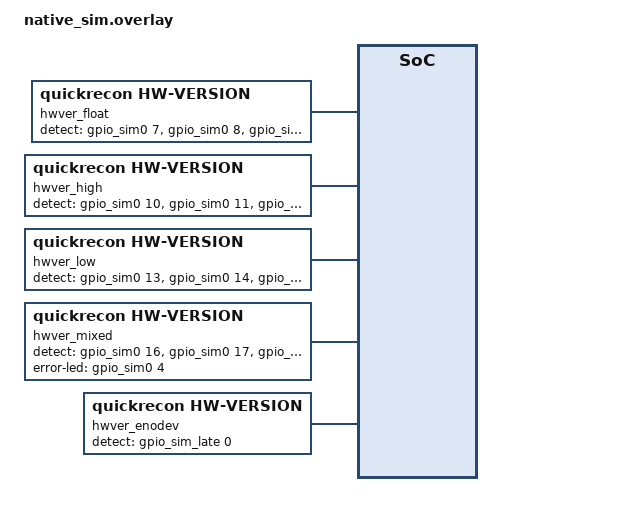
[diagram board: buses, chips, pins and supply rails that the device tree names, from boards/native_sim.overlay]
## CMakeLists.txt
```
cmake_minimum_required(VERSION 3.20.0)

# DTS_ROOT lets Zephyr resolve the out-of-tree bindings this test relies on:
# quickrecon,hw-version (the driver under test) and quickrecon,gpio-sim (the
# capacitance-aware GPIO emulator that preserves externally-driven pin values
# through the pull-up/pull-down reconfigures read_pin_tristate() performs).
set(DTS_ROOT ${CMAKE_CURRENT_SOURCE_DIR}/../..)

find_package(Zephyr REQUIRED HINTS $ENV{ZEPHYR_BASE})
project(test_hw_version)

# The gpio-sim driver source is compiled directly (its own CMakeLists gates on
# CONFIG_GPIO_SIM, whose Kconfig the top-level app sources but a standalone test
# does not). gpio_sim.c is guard-free — it only needs its DT node and CONFIG_GPIO.
target_sources(app PRIVATE
    src/main.c
    ${CMAKE_CURRENT_SOURCE_DIR}/../../src/hw_version.c
    ${CMAKE_CURRENT_SOURCE_DIR}/../../drivers/gpio_sim/gpio_sim.c
)
target_include_directories(app PRIVATE
    ${CMAKE_CURRENT_SOURCE_DIR}/../../include
    ${CMAKE_CURRENT_SOURCE_DIR}/../../src
    ${CMAKE_CURRENT_SOURCE_DIR}/../../drivers/gpio_sim
)
```

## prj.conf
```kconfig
# hw_version.c reads tri-state detect GPIOs and compares against the DT
# expected-pattern. The gpio-sim controller (auto-enabled by its DT node)
# preserves externally-driven values across pull reconfigures so the
# floating / high / low decode arms can all be exercised.
CONFIG_ZTEST=y
CONFIG_GPIO=y
CONFIG_LOG=y
```

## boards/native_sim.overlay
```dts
/*
 * Test topology for hw_version.c coverage.
 *
 * A quickrecon,gpio-sim controller (gpio_sim0) hosts the version-detect pins.
 * Unlike the stock gpio_emul, gpio-sim keeps an externally-driven value pinned
 * through the GPIO_PULL_UP / GPIO_PULL_DOWN reconfigures that
 * read_pin_tristate() applies, so the three decode outcomes can be produced
 * deterministically from the test:
 *
 *   - gpio_sim_drive(pin, 1)  -> both pulled reads HIGH  -> PIN_HIGH
 *   - gpio_sim_drive(pin, 0)  -> both pulled reads LOW   -> PIN_LOW
 *   - gpio_sim_release(pin)   -> pull-up HIGH, pull-down LOW -> PIN_FLOATING
 *
 * gpio_sim0 pin map:
 *   7,8,9    hwver_float detect pins (expected [Z,Z,Z])
 *   10,11,12 hwver_high  detect pins (expected [1,1,1])
 *   13,14,15 hwver_low   detect pins (expected [0,0,0])
 *   16,17,18 hwver_mixed detect pins (expected [0,1,Z])
 *   4        hwver_mixed error LED (exercises the error-led COND_CODE_1 arm)
 *
 * Every hw-version instance is deferred so the test controls pin state before
 * driving device_init(); nothing runs at boot, so no mismatch can trip the
 * unrecoverable halt-with-blink loop during startup.
 *
 * hwver_enodev points at gpio_sim_late, a second gpio-sim that is never
 * initialised, so gpio_is_ready_dt() is false and read_one_detect_pin() takes
 * its -ENODEV arm.
 */

/ {
    gpio_sim0: gpio_sim {
        compatible = "quickrecon,gpio-sim";
        status = "okay";
        gpio-controller;
        #gpio-cells = <2>;
        ngpios = <32>;
        rising-edge;
        falling-edge;
        high-level;
        low-level;
    };

    /* Deferred: never initialised, so device_is_ready() stays false. */
    gpio_sim_late: gpio_sim_late {
        compatible = "quickrecon,gpio-sim";
        status = "okay";
        gpio-controller;
        #gpio-cells = <2>;
        ngpios = <8>;
        rising-edge;
        falling-edge;
        high-level;
        low-level;
        zephyr,deferred-init;
    };

    hwver_float: hwver-float {
        compatible = "quickrecon,hw-version";
        detect-gpios = <&gpio_sim0 7 GPIO_ACTIVE_HIGH>,
                       <&gpio_sim0 8 GPIO_ACTIVE_HIGH>,
                       <&gpio_sim0 9 GPIO_ACTIVE_HIGH>;
        expected-pattern = <2 2 2>;
        zephyr,deferred-init;
    };

    hwver_high: hwver-high {
        compatible = "quickrecon,hw-version";
        detect-gpios = <&gpio_sim0 10 GPIO_ACTIVE_HIGH>,
                       <&gpio_sim0 11 GPIO_ACTIVE_HIGH>,
                       <&gpio_sim0 12 GPIO_ACTIVE_HIGH>;
        expected-pattern = <1 1 1>;
        zephyr,deferred-init;
    };

    hwver_low: hwver-low {
        compatible = "quickrecon,hw-version";
        detect-gpios = <&gpio_sim0 13 GPIO_ACTIVE_HIGH>,
                       <&gpio_sim0 14 GPIO_ACTIVE_HIGH>,
                       <&gpio_sim0 15 GPIO_ACTIVE_HIGH>;
        expected-pattern = <0 0 0>;
        zephyr,deferred-init;
    };

    hwver_mixed: hwver-mixed {
        compatible = "quickrecon,hw-version";
        detect-gpios = <&gpio_sim0 16 GPIO_ACTIVE_HIGH>,
                       <&gpio_sim0 17 GPIO_ACTIVE_HIGH>,
                       <&gpio_sim0 18 GPIO_ACTIVE_HIGH>;
        expected-pattern = <0 1 2>;
        error-led-gpios = <&gpio_sim0 4 GPIO_ACTIVE_HIGH>;
        zephyr,deferred-init;
    };

    hwver_enodev: hwver-enodev {
        compatible = "quickrecon,hw-version";
        detect-gpios = <&gpio_sim_late 0 GPIO_ACTIVE_HIGH>;
        expected-pattern = <2>;
        zephyr,deferred-init;
    };
};
```

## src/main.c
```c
/**
 * @file main.c
 * @brief Unit tests for the hardware-version detection driver (hw_version.c).
 *
 * hw_version.c is a DEVICE_DT_INST_DEFINE driver: its logic lives in the
 * static init callback and helpers, reachable only by initialising an instance.
 * Every instance in the test overlay is deferred, so each ztest scripts the
 * detect pins on the gpio-sim controller, then drives device_init() and
 * inspects the returned status.
 *
 * gpio-sim (quickrecon,gpio-sim) faithfully models a pin's response to the
 * driver's pull-up/pull-down probing:
 *   - gpio_sim_drive(pin, 1) pins the pin HIGH through both pulls -> PIN_HIGH
 *   - gpio_sim_drive(pin, 0) pins the pin LOW  through both pulls -> PIN_LOW
 *   - gpio_sim_release(pin)  lets the pull win: up->HIGH, down->LOW -> FLOATING
 *
 * Deliberately NOT covered (documented for the Phase-5 GCOVR_EXCL list):
 *   - halt_with_blink() / blink_forever(): unrecoverable pre-boot halt loops
 *     that never return; covering them would hang the binary. They only run on
 *     a version mismatch, which every instance here is scripted to avoid.
 *   - pin_state_name()'s default "?" arm and read_one_detect_pin()'s
 *     mismatch-set arm are reachable only on a mismatch, i.e. only via the
 *     halt path.
 *   - read_pin_tristate()'s GPIO-error arms (configure/read returning < 0):
 *     gpio-sim never fails an input configure or read, and the one flag it
 *     rejects (GPIO_OPEN_DRAIN) trips a gpio.h __ASSERT on input pins before
 *     the driver is ever consulted.
 */

#include <zephyr/ztest.h>
#include <zephyr/device.h>
#include <zephyr/drivers/gpio.h>

#include "gpio_sim.h"

static const struct device *const gpio = DEVICE_DT_GET(DT_NODELABEL(gpio_sim0));

static const struct device *const dev_float =
    DEVICE_DT_GET(DT_NODELABEL(hwver_float));
static const struct device *const dev_high =
    DEVICE_DT_GET(DT_NODELABEL(hwver_high));
static const struct device *const dev_low =
    DEVICE_DT_GET(DT_NODELABEL(hwver_low));
static const struct device *const dev_mixed =
    DEVICE_DT_GET(DT_NODELABEL(hwver_mixed));
static const struct device *const dev_enodev =
    DEVICE_DT_GET(DT_NODELABEL(hwver_enodev));

/* gpio_sim0 pin assignments — mirror boards/native_sim.overlay. */
#define FLOAT_PIN_0 7U
#define HIGH_PIN_0  10U
#define LOW_PIN_0   13U
#define MIXED_PIN_0 16U
#define PINS_PER_INSTANCE 3U

static void drive_run(uint8_t base, int value)
{
    for (uint8_t i = 0U; i < PINS_PER_INSTANCE; ++i) {
        zassert_ok(gpio_sim_drive(gpio, base + i, value),
                   "gpio_sim_drive pin %u", base + i);
    }
}

static void release_run(uint8_t base)
{
    for (uint8_t i = 0U; i < PINS_PER_INSTANCE; ++i) {
        zassert_ok(gpio_sim_release(gpio, base + i),
                   "gpio_sim_release pin %u", base + i);
    }
}

ZTEST_SUITE(hw_version, NULL, NULL, NULL, NULL, NULL);

/** @brief gpio-sim controller is ready before any instance is initialised. */
ZTEST(hw_version, test_gpio_controller_ready)
{
    zassert_true(device_is_ready(gpio), "gpio_sim0 must be ready");
}

/** @brief All-floating pins decode to [Z,Z,Z] and match the expected pattern. */
ZTEST(hw_version, test_floating_pattern_matches)
{
    release_run(FLOAT_PIN_0);

    zassert_ok(device_init(dev_float),
               "floating pins must match expected [Z,Z,Z]");
    zassert_true(device_is_ready(dev_float));
}

/** @brief Externally-driven-high pins decode to [1,1,1] and match. */
ZTEST(hw_version, test_high_pattern_matches)
{
    drive_run(HIGH_PIN_0, 1);

    zassert_ok(device_init(dev_high),
               "driven-high pins must match expected [1,1,1]");
    zassert_true(device_is_ready(dev_high));
}

/** @brief Externally-driven-low pins decode to [0,0,0] and match. */
ZTEST(hw_version, test_low_pattern_matches)
{
    drive_run(LOW_PIN_0, 0);

    zassert_ok(device_init(dev_low),
               "driven-low pins must match expected [0,0,0]");
    zassert_true(device_is_ready(dev_low));
}

/**
 * @brief A mixed [0,1,Z] pattern exercises all three decode arms in one init.
 *
 * pin16 driven low, pin17 driven high, pin18 released (floating) — matching the
 * overlay's expected-pattern <0 1 2>, so print_pin_states() renders "0", "1"
 * and "Z" (all three pin_state_name arms) and the init succeeds.
 */
ZTEST(hw_version, test_mixed_pattern_matches)
{
    zassert_ok(gpio_sim_drive(gpio, MIXED_PIN_0, 0));       /* -> PIN_LOW  */
    zassert_ok(gpio_sim_drive(gpio, MIXED_PIN_0 + 1U, 1));  /* -> PIN_HIGH */
    zassert_ok(gpio_sim_release(gpio, MIXED_PIN_0 + 2U));   /* -> PIN_FLOATING */

    zassert_ok(device_init(dev_mixed),
               "mixed pins must match expected [0,1,Z]");
    zassert_true(device_is_ready(dev_mixed));
}

/** @brief A detect pin on an uninitialised controller yields -ENODEV. */
ZTEST(hw_version, test_unready_gpio_reports_enodev)
{
    zassert_equal(device_init(dev_enodev), -ENODEV,
                  "not-ready detect GPIO must fail init with -ENODEV");
    zassert_false(device_is_ready(dev_enodev));
}
```
